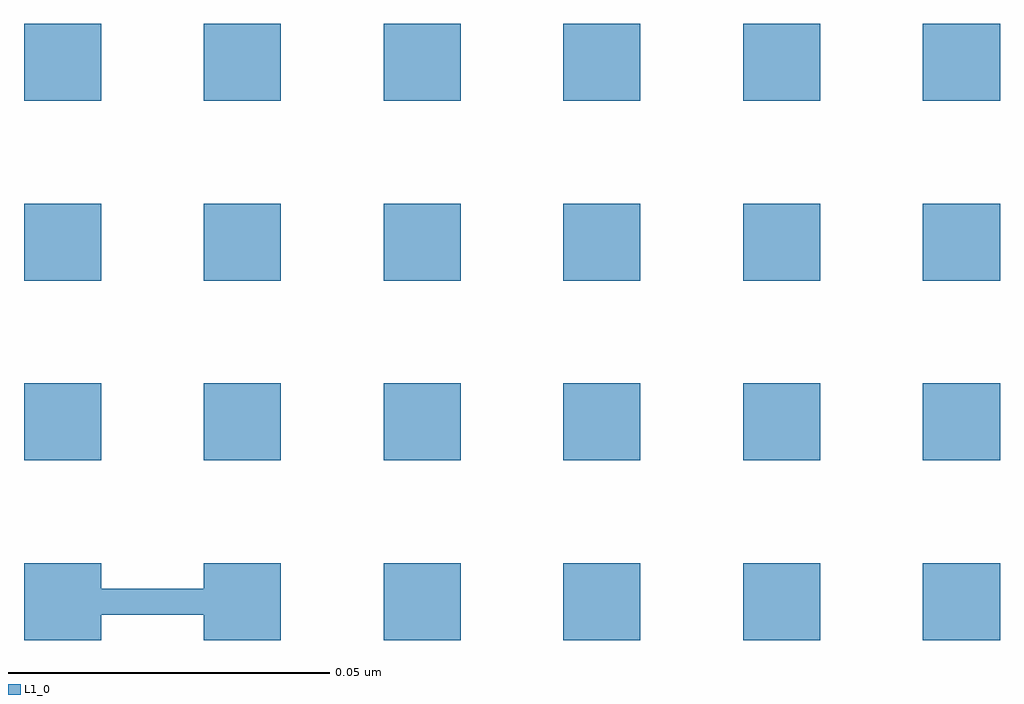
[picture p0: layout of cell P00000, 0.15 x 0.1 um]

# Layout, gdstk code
import gdstk
lib = gdstk.Library(unit=1e-6, precision=1e-10)
def R(c, l, rs):  # rectangles x0, y0, x1, y1
    for r in rs: c.add(gdstk.rectangle(r[:2], r[2:], *l))
def A(c, l, x, y, w, h, nx, ny, dx, dy):  # array of equal rectangles
    R(c, l, [(x+i*dx, y+j*dy, x+i*dx+w, y+j*dy+h) for i in range(nx) for j in range(ny)])
def P(c, l, *ps):  # polygons
    for p in ps: c.add(gdstk.Polygon(p, *l))
L1_0 = (1, 0)

p00000 = lib.new_cell('P00000')
A(p00000, L1_0, 0.056, 0, 0.012, 0.012, 4, 1, 0.028, 0)
A(p00000, L1_0, 0, 0.028, 0.012, 0.012, 6, 3, 0.028, 0.028)
P(p00000, L1_0, [(0,0.012),(0,0),(0.012,0),(0.012,0.004),(0.028,0.004),(0.028,0),(0.04,0),(0.04,0.012),(0.028,0.012),(0.028,0.008),(0.012,0.008),(0.012,0.012)])

lib.write_gds('P00000.gds')
